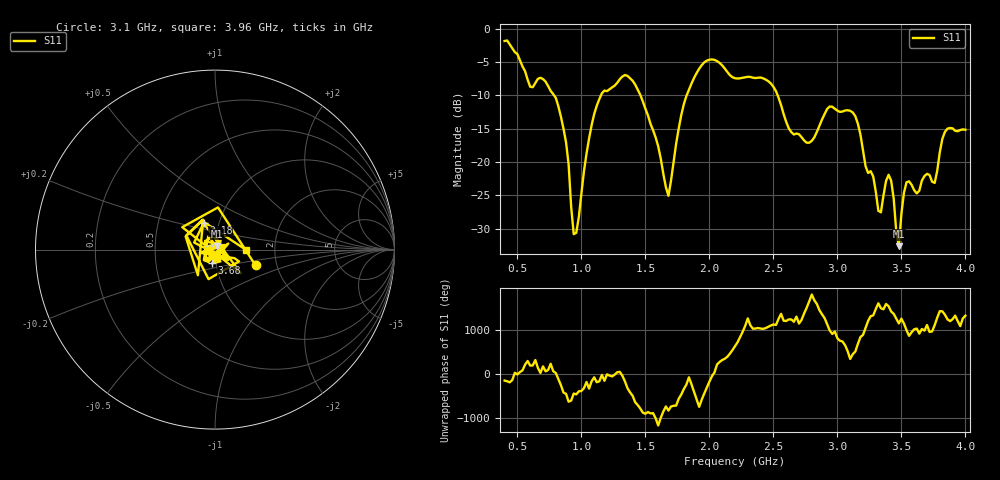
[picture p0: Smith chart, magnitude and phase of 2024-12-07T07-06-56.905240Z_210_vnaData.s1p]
!Created with skrf (http://scikit-rf.org).
# Hz S RI R 50.0
!freq ReS11 ImS11
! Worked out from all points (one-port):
!   181 points, 400 MHz to 4 GHz, reference 50 ohm
!   lowest |S11| = -32.6 dB at 3.48 GHz (marker M1), VSWR 1.05, Z = 51.1 + j2.09 ohm
!   |S11| at or under -10 dB: 787.1 MHz to 1.152 GHz (365.4 MHz wide, 37.7 % of centre); 1.462 GHz to 1.822 GHz (359.9 MHz wide, 21.9 % of centre); 2.533 GHz to end of sweep
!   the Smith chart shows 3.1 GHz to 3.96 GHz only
!   S11 on the Smith chart (normalised r, x): 3.1 GHz: 1.55, -0.29; 3.18 GHz: 0.84, +0.26; 3.68 GHz: 0.96, -0.15; 3.96 GHz: 1.42, -0.01
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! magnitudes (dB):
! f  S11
! 400 MHz  -1.8
! 600 MHz  -8.7
! 720 MHz  -7.9
! 860 MHz  -15.0
! 900 MHz  -20.3
! 940 MHz  -30.8
! 960 MHz  -30.6
! 1.1 GHz  -12.8
! 1.3 GHz  -7.6
! 1.46 GHz  -9.9
! 1.68 GHz  -25.1
! 1.76 GHz  -15.0
! 1.96 GHz  -5.0
! 2.2 GHz  -7.4
! 2.48 GHz  -8.2
! 2.66 GHz  -15.9
! 3.1 GHz  -12.3
! 3.18 GHz  -15.9
! 3.32 GHz  -27.3
! 3.42 GHz  -22.8
! 3.48 GHz  -32.6
! 3.52 GHz  -24.6
! 3.56 GHz  -22.9
! 3.68 GHz  -22.1
! 3.76 GHz  -23.1
! 3.84 GHz  -15.5
! 3.96 GHz  -15.2
! 4 GHz  -15.1
